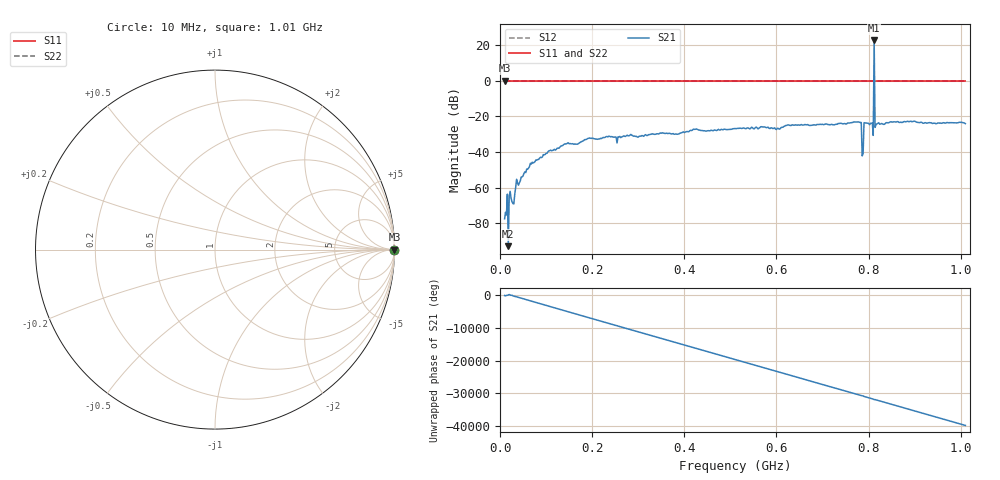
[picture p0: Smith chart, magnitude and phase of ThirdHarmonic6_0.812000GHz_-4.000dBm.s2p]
! 8/16/2025 3:01:22 AM
! C:\ANRITSUVNA\TEMP\TEMP.S2P
! CHANNEL.1
! TR.MEASUREMENT
! RAW.DATA
! RF.CORRECTION.OFF
! AVERAGING.OFF
! IF.BANDWIDTH: 5KHZ
! SWEEPTYPE:  FREQ.SWEEP(Linear)
! Reference Plane Port Info
! PORT:  PORT1  PORT2
! DISTANCE:  0  m  0  m
! TIME:  0  s  0  s
! PHASE.OFFSET:  0  deg.  0  deg.
! LOSS:  0  dB  0  dB
! REF.LOSS:  0  dB  0  dB
! REF.FREQ:  0  Hz  0  Hz
! Power Info
! POWER:  -20  dBm  -20  dBm
! EFF.POWER:  -20  dBm  -20  dBm
! SOURCE.ATTEN:  0  dB  0  dB
! TEST.ATTEN:  0  dB  0  dB
# GHZ S RI R 50.0
! FREQ.GHZ  S11RE  S11IM  S21RE  S21IM  S12RE  S12IM  S22RE  S22IM
!; PortSelection: Port_12
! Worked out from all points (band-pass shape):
!   501 points, 10 MHz to 1.01 GHz, reference 50 ohm
!   highest |S21| = 22.52 dB at 812 MHz (marker M1); lowest = -92.9 dB at 18 MHz (marker M2)
!   |S21| within 3 dB of the highest: 811.8874 MHz to 812.1231 MHz (235.7 kHz wide, 0.029 % of centre)
!   lowest |S11| = 0.0 dB at 10 MHz (marker M3)
!   |S11| at or under -10 dB: nowhere
!   |S22| runs from 0.0 to 0.0 dB; largest |S21 - S12| = 14
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0.01  1 0  -8.36e-05 -0.000103  1 0  1 0
0.018  1 0  1.24e-05 1.9e-05  1 0  1 0
0.024  1 0  0.000187 -0.000469  1 0  1 0
0.028  1 0  -0.000288 0.000206  1 0  1 0
0.038  1 0  -0.000887 0.00102  1 0  1 0
0.07  1 0  -0.00163 -0.00487  1 0  1 0
0.142  1 0  -0.0154 -0.0067  1 0  1 0
0.178  1 0  -0.0189 -0.00508  1 0  1 0
0.344  1 0  0.0313 -0.00566  1 0  1 0
0.51  1 0  -0.0428 0.0147  1 0  1 0
0.678  1 0  -0.0224 -0.0515  1 0  1 0
0.78  1 0  -0.00544 0.0676  1 0  1 0
0.784  1 0  0.0279 -0.0607  1 0  1 0
0.79  1 0  0.0399 0.0525  1 0  1 0
0.794  1 0  -0.021 -0.0611  1 0  1 0
0.806  1 0  -0.0398 0.0496  1 0  1 0
0.808  1 0  0.0425 0.0484  1 0  1 0
0.812  1 0  -12.12 5.637  1 0  1 0
0.816  1 0  0.00562 0.058  1 0  1 0
0.818  1 0  0.0602 0.00892  1 0  1 0
0.844  1 0  0.0445 0.0487  1 0  1 0
1.01  1 0  -0.0588 -0.0198  1 0  1 0
